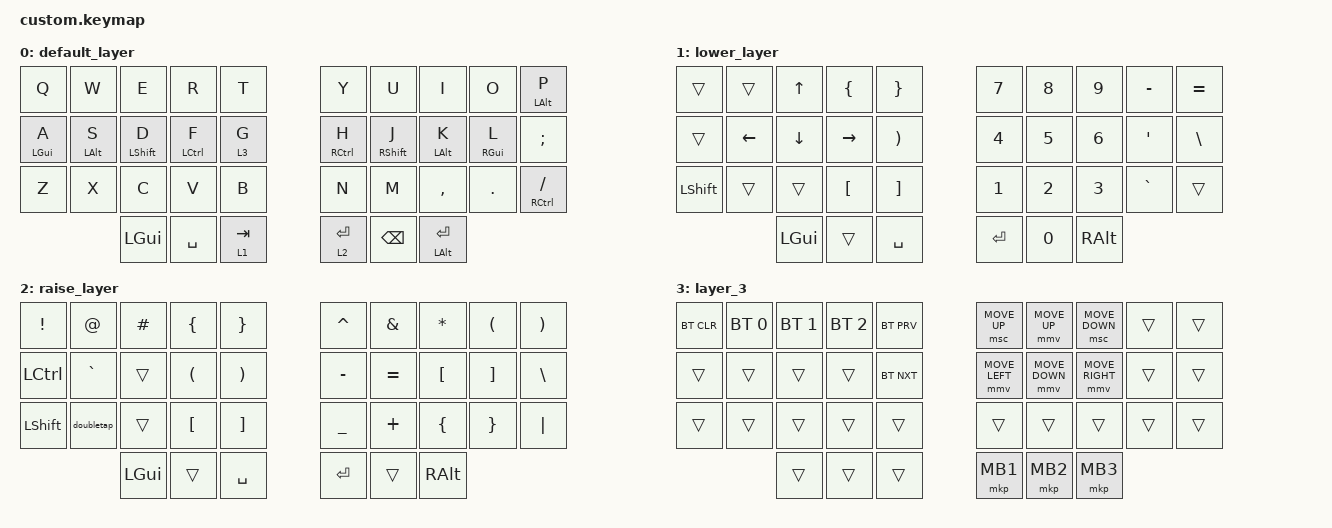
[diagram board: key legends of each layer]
/*
 * Copyright (c) 2023 Your Name
 *
 * SPDX-License-Identifier: MIT
 */

#include <behaviors.dtsi>
#include <dt-bindings/zmk/bt.h>
#include <dt-bindings/zmk/keys.h>
#include <dt-bindings/zmk/mouse.h>

&mt {
    flavor = "tap-preferred";
    quick-tap-ms = <200>;
};

/ {
    chosen { zmk,matrix_transform = &five_column_transform; };

    combos {
        compatible = "zmk,combos";

        combo_esc {
            timeout-ms = <50>;
            key-positions = <0 1>;
            bindings = <&gresc>;
        };
    };

    behaviors {
        doubletap: doubletap {
            compatible = "zmk,behavior-tap-dance";
            label = "DOUBLETAP";
            bindings = <&kp X, &kp LA(X)>;
            #binding-cells = <0>;
        };
        motap: motap {
            compatible = "zmk,behavior-hold-tap";
            label = "MOTAP";
            bindings = <&mo, &kp>;
            #binding-cells = <2>;
            tapping-term-ms = <500>;
            flavor = "tap-preferred";
        };
    };

    keymap {
        compatible = "zmk,keymap";

        default_layer {
// -----------------------------------------------------------------------------------------
// |  TAB |  Q  |  W  |  E  |  R  |  T  |   |  Y  |  U   |  I  |  O  |  P  | BKSP |
// | CTRL |  A  |  S  |  D  |  F  |  G  |   |  H  |  J   |  K  |  L  |  ;  |  '   |
// | SHFT |  Z  |  X  |  C  |  V  |  B  |   |  N  |  M   |  ,  |  .  |  /  | ESC  |
//                    | GUI | LWR | SPC |   | ENT | RSE  | ALT |

            bindings = <
  &kp Q  &kp W  &kp E  &kp R  &kp T  &kp Y  &kp U  &kp I  &kp O  &mt LALT P  
  &mt LEFT_GUI A  &mt LEFT_ALT S  &mt LEFT_SHIFT D  &mt LCTRL F  &lt 3 G  &mt RCTRL H  &mt RIGHT_SHIFT J  &mt LALT K  &mt RIGHT_GUI L  &kp SEMICOLON  
  &kp Z  &kp X  &kp C  &kp V  &kp B  &kp N  &kp M  &kp COMMA  &kp DOT  &mt RCTRL FSLH  
  &kp LGUI  &kp SPACE  &lt 1 TAB  &lt 2 ENTER  &kp BACKSPACE  &mt LALT ENTER  
            >;
        };

        lower_layer {
// -----------------------------------------------------------------------------------------
// |  TAB |  1  |  2  |  3  |  4  |  5  |   |  6  |  7  |  8  |  9  |  0  | BKSP |
// | BTCLR| BT1 | BT2 | BT3 | BT4 | BT5 |   | LFT | DWN |  UP | RGT |     |      |
// | SHFT |     |     |     |     |     |   |     |     |     |     |     |      |
//                    | GUI |     | SPC |   | ENT |     | ALT |

            bindings = <
  &trans  &trans  &kp UP_ARROW  &kp LEFT_BRACE  &kp RIGHT_BRACE  &kp NUMBER_7  &kp NUMBER_8  &kp NUMBER_9  &kp MINUS  &kp EQUAL  
  &trans  &kp LEFT_ARROW  &kp DOWN_ARROW  &kp RIGHT  &kp RIGHT_PARENTHESIS  &kp NUMBER_4  &kp NUMBER_5  &kp NUMBER_6  &kp SINGLE_QUOTE  &kp BACKSLASH  
  &kp LSHFT  &trans  &trans  &kp LEFT_BRACKET  &kp RIGHT_BRACKET  &kp NUMBER_1  &kp NUMBER_2  &kp NUMBER_3  &kp GRAVE  &trans  
  &kp LGUI  &trans  &kp SPACE  &kp RET  &kp NUMBER_0  &kp RALT  
            >;
        };

        raise_layer {
// -----------------------------------------------------------------------------------------
// |  TAB |  !  |  @  |  #  |  $  |  %  |   |  ^  |  &  |  *  |  (  |  )  | BKSP |
// | CTRL |     |     |     |     |     |   |  -  |  =  |  [  |  ]  |    |  `   |
// | SHFT |     |     |     |     |     |   |  _  |  +  |  {  |  }  | "|" |  ~   |
//                    | GUI |     | SPC |   | ENT |     | ALT |

            bindings = <
  &kp EXCL  &kp AT  &kp HASH  &kp LEFT_BRACE  &kp RIGHT_BRACE  &kp CARET  &kp AMPS  &kp ASTRK  &kp LPAR  &kp RPAR  
  &kp LCTRL  &kp GRAVE  &trans  &kp LEFT_PARENTHESIS  &kp RIGHT_PARENTHESIS  &kp MINUS  &kp EQUAL  &kp LBKT  &kp RBKT  &kp BSLH  
  &kp LSHFT  &doubletap  &trans  &kp LEFT_BRACKET  &kp RIGHT_BRACKET  &kp UNDER  &kp PLUS  &kp LBRC  &kp RBRC  &kp PIPE  
  &kp LGUI  &trans  &kp SPACE  &kp RET  &trans  &kp RALT  
            >;
        };

        layer_3 {
            bindings = <
  &bt BT_CLR  &bt BT_SEL 0  &bt BT_SEL 1  &bt BT_SEL 2  &bt BT_PRV  &msc MOVE_UP  &mmv MOVE_UP  &msc MOVE_DOWN  &trans  &trans  
  &trans  &trans  &trans  &trans  &bt BT_NXT  &mmv MOVE_LEFT  &mmv MOVE_DOWN  &mmv MOVE_RIGHT  &trans  &trans  
  &trans  &trans  &trans  &trans  &trans  &trans  &trans  &trans  &trans  &trans  
  &trans  &trans  &trans  &mkp MB1  &mkp MB2  &mkp MB3  
            >;
        };

    };
};
